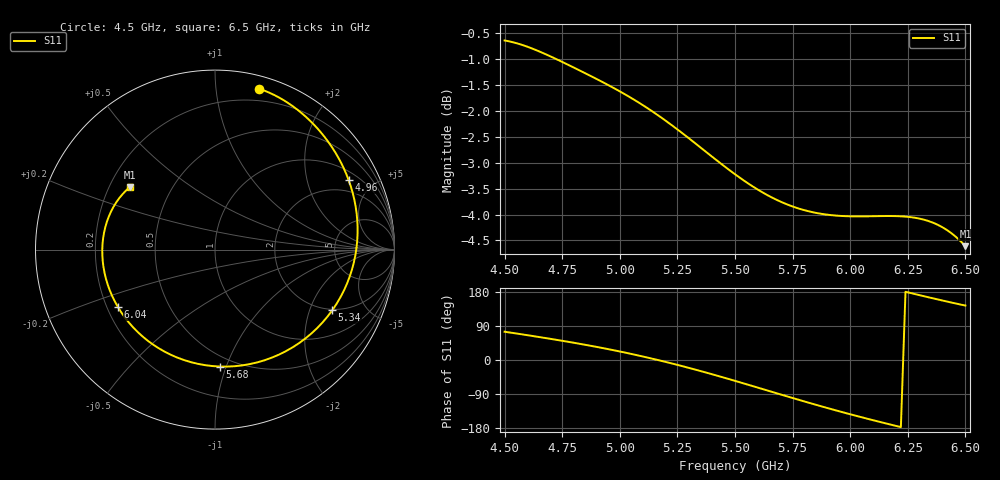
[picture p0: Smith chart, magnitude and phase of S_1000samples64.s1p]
! TOUCHSTONE file generated by CST MICROWAVE STUDIO
! Date and time: Wed Oct 26 20:58:44 2022
! Project name: L.cst
! Parameters = {Di=1.27; Epsilon_r=1.56; InnerDiameter=1.27; Length=2; Lf=10; Lg=60; OuterConductorThickness=0.2921; OuterDiameter=3.6; Wf=3; Wp=41.2; de=1.5; df=6.8; g=0.8; gx=1.93006; gy=1.66348; h=2.34; hf=1.524; px=9.59848; py=11.003; w=9.7; wx=7.66842; wy=9.33951}
! Header version: 2018
! Port assignment regex: !\s*Touchstone port\s*([0-9]+)\s*=\s*(CST MWS port|CST DS port)\s*([0-9]+|Zmin|Zmax)\s*\(\"(.*)\"\)(\s*mode\s*([0-9]+))?.*
! Touchstone port assignment:
! Touchstone port 1 = CST MWS port 1 ("")
# GHz S DB R 50
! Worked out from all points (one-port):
!   101 points, 4.5 GHz to 6.5 GHz, reference 50 ohm
!   lowest |S11| = -4.6 dB at 6.5 GHz (marker M1), VSWR 3.86, Z = 14.3 + j15.2 ohm
!   |S11| at or under -10 dB: nowhere
!   S11 on the Smith chart (normalised r, x): 4.5 GHz: 0.10, +1.31; 4.96 GHz: 1.38, +3.61; 5.34 GHz: 1.95, -2.88; 5.68 GHz: 0.42, -0.95; 6.04 GHz: 0.24, -0.26; 6.5 GHz: 0.29, +0.30
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4.5  -0.64 74.6
4.62  -0.79 63.5
4.76  -1.07 49.6
4.86  -1.29 39.0
4.96  -1.52 27.4
5  -1.62 22.4
5.08  -1.83 12.0
5.14  -2.00 3.6
5.2  -2.19 -5.2
5.26  -2.39 -14.5
5.34  -2.67 -27.4
5.42  -2.95 -41.0
5.5  -3.22 -55.0
5.6  -3.52 -73.1
5.68  -3.71 -87.6
5.76  -3.86 -102.1
5.82  -3.94 -112.7
5.88  -3.99 -123.1
5.94  -4.02 -133.3
6  -4.03 -143.2
6.04  -4.03 -149.6
6.1  -4.03 -159.0
6.16  -4.03 -168.1
6.26  -4.05 177.1
6.32  -4.10 168.4
6.38  -4.20 159.9
6.44  -4.36 151.6
6.5  -4.61 143.6
